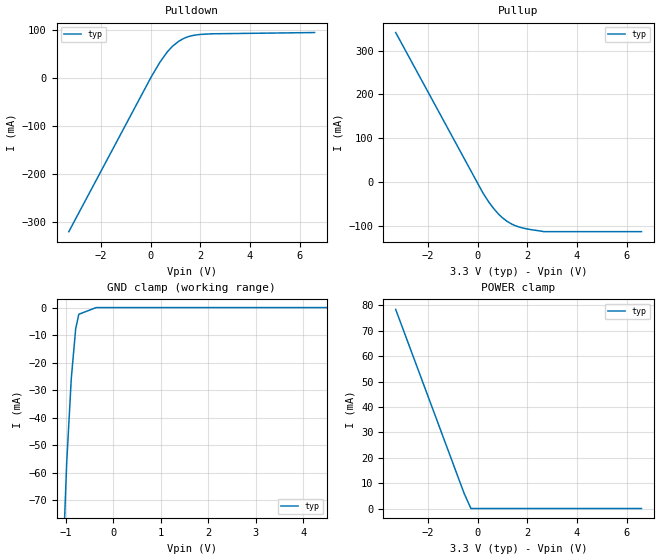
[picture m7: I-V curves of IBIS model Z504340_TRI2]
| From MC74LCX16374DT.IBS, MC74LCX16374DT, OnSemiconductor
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| (C) COPYRIGHT 1993-2000
| MENTOR GRAPHICS CORPORATION
| ICX STANDARD LIBRARY, ICX PROJECT MODELING,
| ICX CUSTOM MODELING, ICX VENDOR MODEL
| ALL RIGHTS RESERVED.
| THE FOLLOWING ARE TRADEMARKS OR SERVICE MARKS OF
| MENTOR GRAPHICS CORPORATION:ICX (R), ICX STANDARD
| LIBRARY(R), ICX PROJECT MODELING(R), ICX CUSTOM
| MODELING(R), qualityIBIS(TM), MODELVIEWER(TM),
| AND MODELEDITOR(TM)
| ALL COPIES OF SOFTWARE, INCLUDING BUT NOT LIMITED TO
| ANY MODIFICATIONS, ENHANCEMENTS OR DERIVATIVE WORKS,
| MUST CONTAIN ALL MENTOR GRAPHICS CORPORATION'S
| NOTICES AND LEGENDS, INCLUDING THOSE EMBEDDED IN
| SOFTWARE AND THOSE AFFIXED TO SOFTWARE MEDIUM
| AND CONTAINER, AS RECEIVED FROM MENTOR GRAPHICS
| CORPORATION.
| Model Application Version 1.89 2/18/99.
[Model] Z504340_TRI2
Model_type 3-state
Vref=0.000V
Rref=500.0ohms
Cref=50.00pF
Vmeas=1.500V
C_comp 8.000pF NA NA
| variable typ   min   max
[Voltage Range] 3.300V NA NA
[POWER Clamp Reference] 3.300V NA NA
[Pullup Reference] 3.300V NA NA
[Pulldown Reference] 0.000V NA NA
[GND Clamp Reference] 0.000V NA NA
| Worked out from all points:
|   slope of the pulldown table from 0 to 0.495 V, typ, clamps not added: 11.9 ohm
|   slope of the pullup table from 0 to 0.495 V, typ, clamps not added: 10.7 ohm
[GND Clamp]
-3.3V     -1.113A    NA         NA
-986.2mV  -56.61mA   NA         NA
-888.6mV  -25.69mA   NA         NA
-795.9mV  -7.669mA   NA         NA
-730.1mV  -2.439mA   NA         NA
-365mV    0A         NA         NA
6.6V      0A         NA         NA
[Pulldown]
-3.3V     -320.3mA   NA         NA
24.64mV   2.579mA    NA         NA
371.8mV   32.8mA     NA         NA
665.4mV   54.04mA    NA         NA
871.7mV   65.68mA    NA         NA
1.123V    76.14mA    NA         NA
1.431V    84.44mA    NA         NA
2.024V    90.67mA    NA         NA
6.6V      94.48mA    NA         NA
[Pullup]
-3.3V     341mA      NA         NA
210mV     -24.14mA   NA         NA
654mV     -60.64mA   NA         NA
988mV     -80.63mA   NA         NA
1.198V    -89.65mA   NA         NA
1.606V    -100.9mA   NA         NA
2.653V    -112.7mA   NA         NA
6.6V      -112.7mA   NA         NA
[POWER Clamp]
-3.3V     78.39mA    NA         NA
-537mV    5.8mA      NA         NA
-268.5mV  0A         NA         NA
6.6V      0A         NA         NA
[Ramp]
| variable typ min max
dV/dt_r 1.957/324.4p NA NA
dV/dt_f 1.957/410.2p NA NA
R_load = 500.0Ohms
